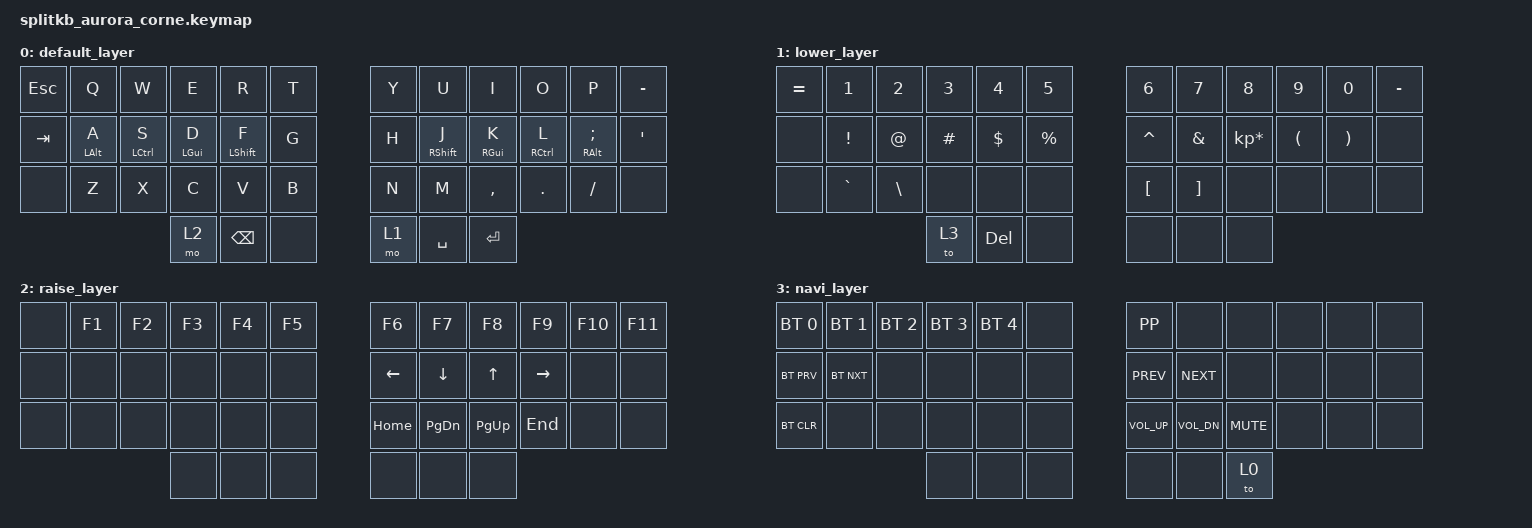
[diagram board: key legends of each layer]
/*
 * Copyright (c) 2020 The ZMK Contributors
 *
 * SPDX-License-Identifier: MIT
 */

#include <behaviors.dtsi>
#include <dt-bindings/zmk/bt.h>
#include <dt-bindings/zmk/keys.h>

/ {
    behaviors {
        lh_pht: left_positional_hold_tap {
            compatible = "zmk,behavior-hold-tap";
            #binding-cells = <2>;
            flavor = "tap-unless-interrupted";
            tapping-term-ms = <100>;                        // <---[[produces tap if held longer than tapping-term-ms]]
            quick-tap-ms = <200>;
            bindings = <&kp>, <&kp>;
            hold-trigger-key-positions = <5 6 7 8 9 10>;    // <---[[right-hand keys]]
        };

        hm: homerow_mods {
            compatible = "zmk,behavior-hold-tap";
            #binding-cells = <2>;
            tapping-term-ms = <150>;
            quick-tap-ms = <0>;
            flavor = "tap-preferred";
            bindings = <&kp>, <&kp>;
        };

        bhm: balanced_homerow_mods {
            compatible = "zmk,behavior-hold-tap";
            #binding-cells = <2>;
            tapping-term-ms = <200>;    // <---[[moderate duration]]
            quick-tap-ms = <0>;
            flavor = "balanced";
            bindings = <&kp>, <&kp>;
        };
    };
    keymap {
        compatible = "zmk,keymap";

        default_layer {
            // -----------------------------------------------------------------------------------------
            // | ESC  |  Q  |  W  |  E  |  R  |  T  |   |  Y  |  U   |  I  |  O  |  P  |  -   |
            // | TAB  |  A  |  S  |  D  |  F  |  G  |   |  H  |  J   |  K  |  L  |  ;  |  '   |
            // | SHFT |  Z  |  X  |  C  |  V  |  B  |   |  N  |  M   |  ,  |  .  |  /  | ALT  |
            //                    | RIS | BKS | GUI |   | LOW | SPC  | ENT |

            bindings = <
&kp ESC  &kp Q           &kp W               &kp E           &kp R             &kp T    &kp Y  &kp U              &kp I            &kp O        &kp P                    &kp MINUS
&kp TAB  &hm LALT A      &hm LCTRL S         &hm LGUI D      &hm LSHIFT F      &kp G    &kp H  &hm RSHIFT J       &hm RGUI K       &hm RCTRL L  &hm RALT SEMICOLON       &kp SQT
&none    &kp Z           &kp X               &kp C           &kp V             &kp B    &kp N  &kp M              &kp COMMA        &kp DOT      &kp FSLH                 &none
                                             &mo 2           &kp BSPC          &none    &mo 1  &kp SPACE          &kp ENTER
            >;
        };

        lower_layer {
            // -----------------------------------------------------------------------------------------
            // |  =   |  1  |  2  |  3  |  4  |  5  |   |  6  |  7  |  8  |  9  |  0  | - |
            // | CTRL |  !  |  @  |  #  |  $  |  %  |   |  ^  |  &  |  *  |  (  |  )  |   |
            // | SHFT |  `  |  \  |     |     |     |   |  [  |  ]  |     |     |     |   |
            //                    | FUN | DEL | GUI |   |     |     |     |

            bindings = <
&kp EQUAL  &kp N1     &kp N2    &kp N3    &kp N4    &kp N5       &kp N6     &kp N7    &kp N8           &kp N9    &kp N0    &kp MINUS
&none      &kp EXCL   &kp AT    &kp HASH  &kp DLLR  &kp PRCNT    &kp CARET  &kp AMPS  &kp KP_MULTIPLY  &kp LPAR  &kp RPAR  &none
&none      &kp GRAVE  &kp BSLH  &none     &none     &none        &kp LBKT   &kp RBKT  &none            &none     &none     &none
                                &to 3     &kp DEL   &none        &none      &none     &none
            >;
        };

        raise_layer {
            // -----------------------------------------------------------------------------------------
            // |      |  F1  |  F2  |  F3  |  F4  |  F5  |   |  F6   |  F7   |  F8  |  F9  |  F10  | F11  |
            // | CTRL |      |      |      |      |      |   |  LFT  |  DWN  |  UP  |  RGT |       | CTRL |
            // | SHFT |  ALT |      |      |      |      |   |  HOM  |  PDN  |  PUP |  END |  ALT  | SHFT |
            //                      |      |      |      |   |       |       |      |

            bindings = <
&none  &kp F1  &kp F2  &kp F3  &kp F4  &kp F5    &kp F6    &kp F7     &kp F8     &kp F9     &kp F10  &kp F11
&none  &none   &none   &none   &none   &none     &kp LEFT  &kp DOWN   &kp UP     &kp RIGHT  &none    &none
&none  &none   &none   &none   &none   &none     &kp HOME  &kp PG_DN  &kp PG_UP  &kp END    &none    &none
                       &none   &none   &none     &none     &none      &none
            >;
        };

        navi_layer {
            // -----------------------------------------------------------------------------------------
            // |      |  F1  |  F2  |  F3  |  F4  |  F5  |   |  F6   |  F7   |  F8  |  F9  |  F10  | F11  |
            // | CTRL |      |      |      |      |      |   |  LFT  |  DWN  |  UP  |  RGT |       | CTRL |
            // | SHFT |  ALT |      |      |      |      |   |  HOM  |  PDN  |  PUP |  END |  ALT  | SHFT |
            //                      |      |      |      |   |       |       |      |

            bindings = <
&bt BT_SEL 0  &bt BT_SEL 1  &bt BT_SEL 2  &bt BT_SEL 3  &bt BT_SEL 4  &none    &kp K_PP      &none         &none       &none  &none  &none
&bt BT_PRV    &bt BT_NXT    &none         &none         &none         &none    &kp C_PREV    &kp K_NEXT    &none       &none  &none  &none
&bt BT_CLR    &none         &none         &none         &none         &none    &kp C_VOL_UP  &kp C_VOL_DN  &kp K_MUTE  &none  &none  &none
                                          &none         &none         &none    &none         &none         &to 0
            >;
        };
    };
};
